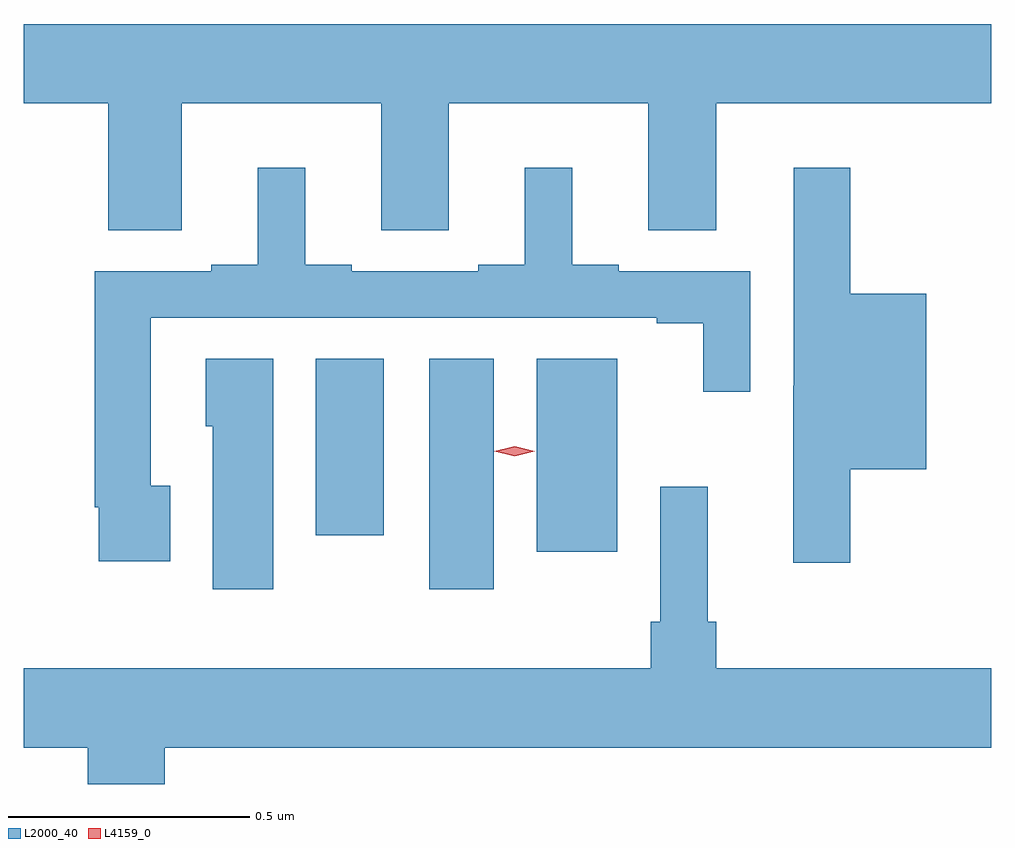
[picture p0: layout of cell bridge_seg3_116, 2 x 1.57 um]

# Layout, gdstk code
import gdstk
lib = gdstk.Library(unit=1e-6, precision=1e-09)
def R(c, l, rs):  # rectangles x0, y0, x1, y1
    for r in rs: c.add(gdstk.rectangle(r[:2], r[2:], *l))
def P(c, l, *ps):  # polygons
    for p in ps: c.add(gdstk.Polygon(p, *l))
L2000_40 = (2000, 40)
L4159_0 = (4159, 0)

bridge_seg3_116 = lib.new_cell('bridge_seg3_116')
R(bridge_seg3_116, L2000_40, [(150.932,722.556,151.066,723.032), (151.154,722.633,151.321,723.032), (150.698,722.667,150.838,723.032)])
P(bridge_seg3_116, L2000_40, [(150.421,723.56),(150.833,723.56),(150.833,723.298),(150.973,723.298),(150.973,723.56),(151.385,723.56),(151.385,723.298),(151.525,723.298),(151.525,723.56),(152.094,723.56),(152.094,723.724),(150.094,723.724),(150.094,723.56),(150.269,723.56),(150.269,723.298),(150.421,723.298)],
  [(151.802,722.804),(151.96,722.804),(151.96,723.166),(151.802,723.166),(151.802,723.427),(151.686,723.427),(151.686,722.976),(151.685,722.976),(151.685,722.61),(151.802,722.61)],
  [(150.397,722.769),(150.357,722.769),(150.357,723.117),(151.403,723.117),(151.403,723.105),(151.499,723.105),(151.499,722.964),(151.596,722.964),(151.596,723.213),(151.324,723.213),(151.324,723.226),(151.228,723.226),(151.228,723.427),(151.13,723.427),(151.13,723.226),(151.034,723.226),(151.034,723.213),(150.772,723.213),(150.772,723.226),(150.676,723.226),(150.676,723.427),(150.578,723.427),(150.578,723.226),(150.482,723.226),(150.482,723.213),(150.241,723.213),(150.241,722.725),(150.249,722.725),(150.249,722.613),(150.397,722.613)],
  [(150.61,723.032),(150.47,723.032),(150.47,722.892),(150.485,722.892),(150.485,722.556),(150.61,722.556)],
  [(150.094,722.228),(150.226,722.228),(150.226,722.153),(150.386,722.153),(150.386,722.228),(152.094,722.228),(152.094,722.392),(151.526,722.392),(151.526,722.488),(151.508,722.488),(151.508,722.767),(151.41,722.767),(151.41,722.488),(151.39,722.488),(151.39,722.392),(150.094,722.392)])
P(bridge_seg3_116, L4159_0, [(151.109,722.831),(151.067,722.841),(151.067,722.841),(151.067,722.841),(151.109,722.851),(151.15,722.841),(151.15,722.841),(151.15,722.841)])

lib.write_gds('bridge_seg3_116.gds')
